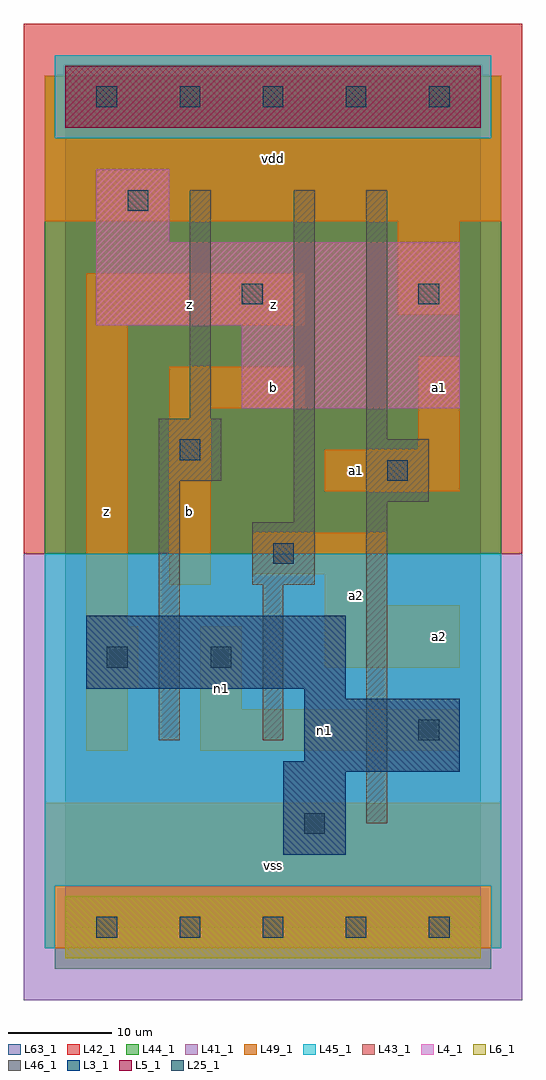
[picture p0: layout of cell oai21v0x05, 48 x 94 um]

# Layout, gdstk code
import gdstk
lib = gdstk.Library(unit=1e-6, precision=1e-09)
def R(c, l, rs):  # rectangles x0, y0, x1, y1
    for r in rs: c.add(gdstk.rectangle(r[:2], r[2:], *l))
def A(c, l, x, y, w, h, nx, ny, dx, dy):  # array of equal rectangles
    R(c, l, [(x+i*dx, y+j*dy, x+i*dx+w, y+j*dy+h) for i in range(nx) for j in range(ny)])
L3_1 = (3, 1)
L4_1 = (4, 1)
L5_1 = (5, 1)
L6_1 = (6, 1)
L25_1 = (25, 1)
L41_1 = (41, 1)
L42_1 = (42, 1)
L43_1 = (43, 1)
L44_1 = (44, 1)
L45_1 = (45, 1)
L46_1 = (46, 1)
L49_1 = (49, 1)
L63_1 = (63, 1)

oai21v0x05 = lib.new_cell('oai21v0x05')
R(oai21v0x05, L3_1, [(21,7,27,15), (21,15,38,16), (23,16,38,22), (23,22,27,23), (2,23,27,30)])
R(oai21v0x05, L4_1, [(17,50,38,58), (3,58,38,66), (3,66,10,73)])
R(oai21v0x05, L5_1, [(0,77,40,83)])
R(oai21v0x05, L6_1, [(0,-3,40,3), (0,-3,40,3)])
A(oai21v0x05, L25_1, 3, -1, 2, 2, 5, 2, 8, 80)
R(oai21v0x05, L25_1, [(23,9,25,11), (34,18,36,20), (4,25,6,27), (14,25,16,27), (20,35,22,37), (31,43,33,45), (11,45,13,47), (17,60,19,62), (34,60,36,62), (6,69,8,71)])
R(oai21v0x05, L41_1, [(-4,-7,44,36)])
R(oai21v0x05, L42_1, [(-4,36,44,87)])
R(oai21v0x05, L43_1, [(0,-3,40,3), (21,7,27,15), (21,15,38,16), (23,16,38,22), (23,22,27,23), (2,23,27,30), (17,50,38,58), (3,58,38,66), (3,66,10,73), (0,77,40,83)])
R(oai21v0x05, L44_1, [(-1,-4,41,4), (-2,36,42,76), (-2,76,-1,82), (41,76,42,82)])
R(oai21v0x05, L45_1, [(-2,-2,-1,4), (41,-2,42,4), (-2,4,42,36), (-1,76,41,84)])
R(oai21v0x05, L46_1, [(29,10,31,41), (9,18,11,43), (19,18,21,33), (18,33,24,39), (22,39,24,71), (29,41,35,47), (9,43,15,49), (29,47,31,71), (12,49,14,71)])
R(oai21v0x05, L49_1, [(-2,-2,42,12), (2,17,6,23), (13,17,38,21), (13,21,17,29), (2,23,7,29), (25,25,38,31), (2,29,6,58), (25,31,31,34), (10,33,14,50), (18,34,31,38), (25,42,38,46), (34,46,38,55), (10,50,23,54), (2,58,23,63), (32,59,38,68), (-2,68,42,82)])
R(oai21v0x05, L63_1, [(0,0,40,80)])
oai21v0x05.add(gdstk.Label('z', (4,40), layer=49, texttype=1))
oai21v0x05.add(gdstk.Label('n1', (15,23), layer=49, texttype=1))
oai21v0x05.add(gdstk.Label('b', (12,40), layer=49, texttype=1))
oai21v0x05.add(gdstk.Label('z', (12,60), layer=49, texttype=1))
oai21v0x05.add(gdstk.Label('vss', (20,6), layer=49, texttype=1))
oai21v0x05.add(gdstk.Label('a2', (28,32), layer=49, texttype=1))
oai21v0x05.add(gdstk.Label('a1', (28,44), layer=49, texttype=1))
oai21v0x05.add(gdstk.Label('b', (20,52), layer=49, texttype=1))
oai21v0x05.add(gdstk.Label('z', (20,60), layer=49, texttype=1))
oai21v0x05.add(gdstk.Label('vdd', (20,74), layer=49, texttype=1))
oai21v0x05.add(gdstk.Label('n1', (25,19), layer=49, texttype=1))
oai21v0x05.add(gdstk.Label('a2', (36,28), layer=49, texttype=1))
oai21v0x05.add(gdstk.Label('a1', (36,52), layer=49, texttype=1))

lib.write_gds('oai21v0x05.gds')
